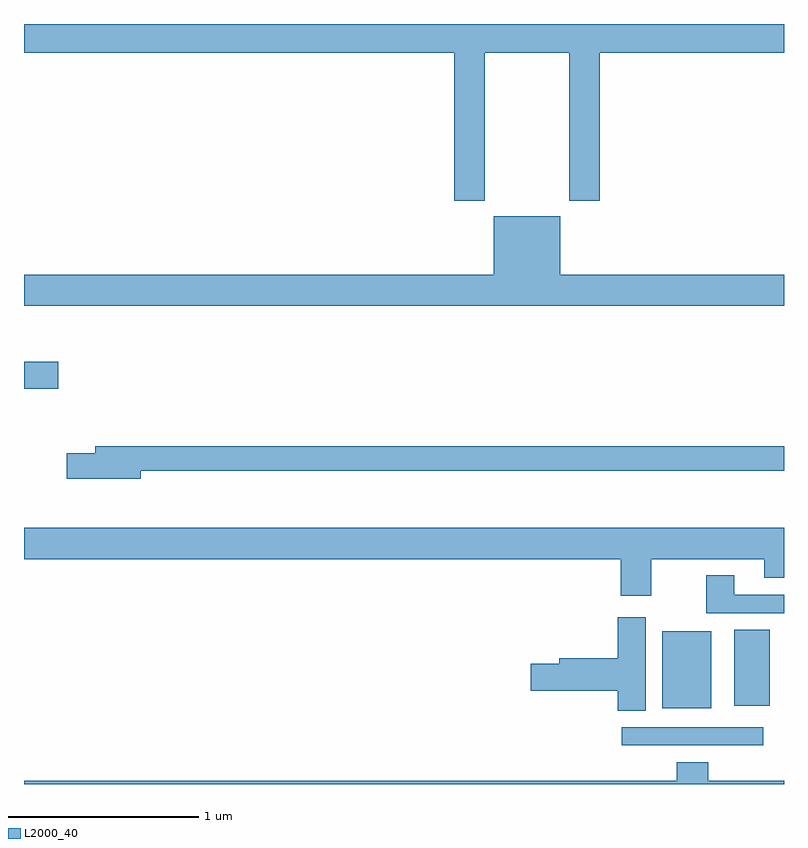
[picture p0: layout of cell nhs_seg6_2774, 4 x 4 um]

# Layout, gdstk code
import gdstk
lib = gdstk.Library(unit=1e-6, precision=1e-09)
def R(c, l, rs):  # rectangles x0, y0, x1, y1
    for r in rs: c.add(gdstk.rectangle(r[:2], r[2:], *l))
def P(c, l, *ps):  # polygons
    for p in ps: c.add(gdstk.Polygon(p, *l))
L2000_40 = (2000, 40)

nhs_seg6_2774 = lib.new_cell('nhs_seg6_2774')
R(nhs_seg6_2774, L2000_40, [(278.145,931.704,278.89,931.8), (278.36,931.898,278.617,932.305), (278.738,931.913,278.926,932.311), (275,933.581,275.179,933.723)])
P(nhs_seg6_2774, L2000_40, [(277.425,935.348),(277.87,935.348),(277.87,934.569),(278.03,934.569),(278.03,935.348),(279,935.348),(279,935.5),(275,935.5),(275,935.348),(277.265,935.348),(277.265,934.569),(277.425,934.569)],
  [(279,934.18),(277.822,934.18),(277.822,934.489),(277.472,934.489),(277.472,934.18),(275,934.18),(275,934.016),(279,934.016)],
  [(275.614,933.15),(279,933.15),(279,933.278),(275.375,933.278),(275.375,933.242),(275.226,933.242),(275.226,933.107),(275.614,933.107)],
  [(278.301,932.684),(278.897,932.684),(278.897,932.585),(279,932.585),(279,932.848),(275,932.848),(275,932.684),(278.141,932.684),(278.141,932.49),(278.301,932.49)],
  [(279,932.496),(278.737,932.496),(278.737,932.599),(278.59,932.599),(278.59,932.4),(279,932.4)],
  [(278.272,932.377),(278.126,932.377),(278.126,932.162),(277.817,932.162),(277.817,932.132),(277.668,932.132),(277.668,931.99),(278.126,931.99),(278.126,931.885),(278.272,931.885)],
  [(279,931.516),(278.6,931.516),(278.6,931.615),(278.435,931.615),(278.435,931.516),(275,931.516),(275,931.5),(279,931.5)])

lib.write_gds('nhs_seg6_2774.gds')
